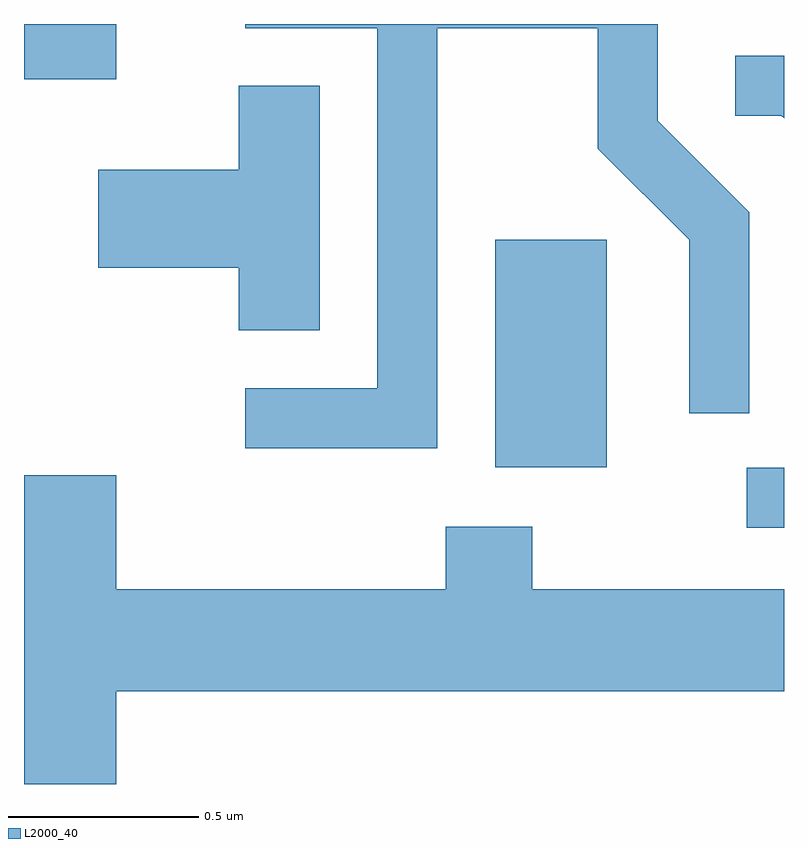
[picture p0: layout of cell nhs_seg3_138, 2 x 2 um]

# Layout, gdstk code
import gdstk
lib = gdstk.Library(unit=1e-6, precision=1e-09)
def R(c, l, rs):  # rectangles x0, y0, x1, y1
    for r in rs: c.add(gdstk.rectangle(r[:2], r[2:], *l))
def P(c, l, *ps):  # polygons
    for p in ps: c.add(gdstk.Polygon(p, *l))
L2000_40 = (2000, 40)

nhs_seg3_138 = lib.new_cell('nhs_seg3_138')
R(nhs_seg3_138, L2000_40, [(188.513,1117.566,188.611,1117.724), (187.851,1117.726,188.144,1118.324), (186.611,1118.746,186.854,1118.892)])
P(nhs_seg3_138, L2000_40, [(187.699,1118.881),(188.121,1118.881),(188.121,1118.564),(188.361,1118.324),(188.361,1117.868),(188.519,1117.868),(188.519,1118.397),(188.279,1118.637),(188.279,1118.892),(187.193,1118.892),(187.193,1118.881),(187.541,1118.881),(187.541,1117.934),(187.193,1117.934),(187.193,1117.776),(187.699,1117.776)],
  [(188.611,1118.809),(188.483,1118.809),(188.483,1118.651),(188.604,1118.651),(188.611,1118.644)],
  [(187.389,1118.729),(187.176,1118.729),(187.176,1118.509),(186.806,1118.509),(186.806,1118.251),(187.176,1118.251),(187.176,1118.086),(187.389,1118.086)],
  [(186.854,1117.136),(188.611,1117.136),(188.611,1117.404),(187.949,1117.404),(187.949,1117.569),(187.721,1117.569),(187.721,1117.404),(186.854,1117.404),(186.854,1117.704),(186.611,1117.704),(186.611,1116.892),(186.854,1116.892)])

lib.write_gds('nhs_seg3_138.gds')
